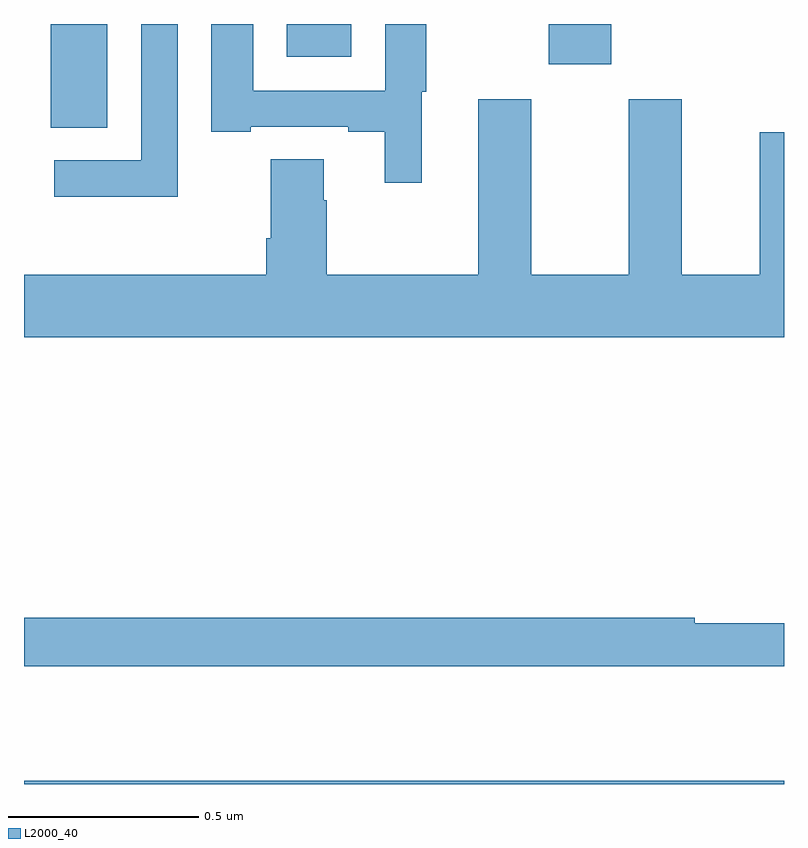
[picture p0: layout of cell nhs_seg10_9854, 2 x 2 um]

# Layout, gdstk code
import gdstk
lib = gdstk.Library(unit=1e-6, precision=1e-09)
def R(c, l, rs):  # rectangles x0, y0, x1, y1
    for r in rs: c.add(gdstk.rectangle(r[:2], r[2:], *l))
def P(c, l, *ps):  # polygons
    for p in ps: c.add(gdstk.Polygon(p, *l))
L2000_40 = (2000, 40)

nhs_seg10_9854 = lib.new_cell('nhs_seg10_9854')
R(nhs_seg10_9854, L2000_40, [(235,1272.5,237,1272.508), (235.07,1274.227,235.219,1274.5), (236.381,1274.394,236.545,1274.5), (235.691,1274.414,235.861,1274.5)])
P(nhs_seg10_9854, L2000_40, [(236.047,1274.322),(236.059,1274.322),(236.059,1274.5),(235.95,1274.5),(235.95,1274.325),(235.603,1274.325),(235.603,1274.5),(235.493,1274.5),(235.493,1274.217),(235.597,1274.217),(235.597,1274.229),(235.853,1274.229),(235.853,1274.217),(235.949,1274.217),(235.949,1274.082),(236.047,1274.082)],
  [(235.404,1274.5),(235.308,1274.5),(235.308,1274.142),(235.08,1274.142),(235.08,1274.045),(235.404,1274.045)],
  [(237,1274.215),(236.936,1274.215),(236.936,1273.84),(236.731,1273.84),(236.731,1274.302),(236.591,1274.302),(236.591,1273.84),(236.335,1273.84),(236.335,1274.302),(236.195,1274.302),(236.195,1273.84),(235.797,1273.84),(235.797,1274.036),(235.789,1274.036),(235.789,1274.144),(235.649,1274.144),(235.649,1273.936),(235.637,1273.936),(235.637,1273.84),(235,1273.84),(235,1273.676),(237,1273.676)],
  [(237,1272.923),(236.765,1272.923),(236.765,1272.938),(235,1272.938),(235,1272.81),(237,1272.81)])

lib.write_gds('nhs_seg10_9854.gds')
